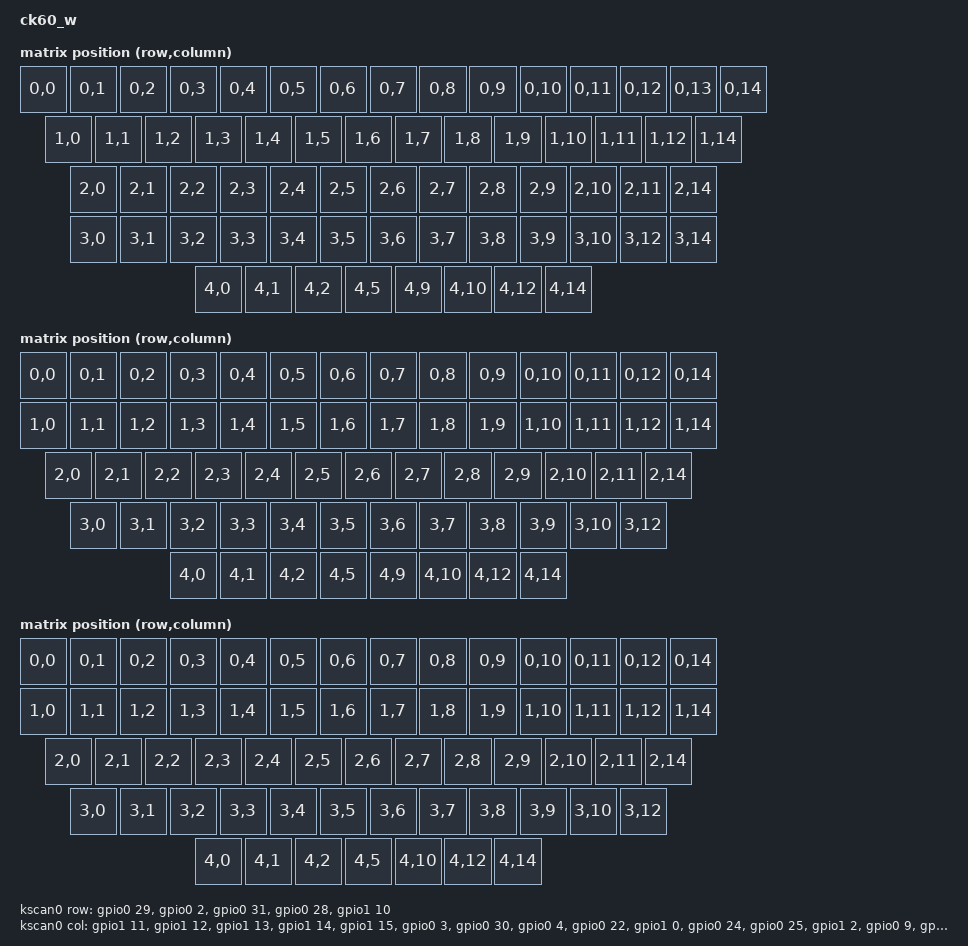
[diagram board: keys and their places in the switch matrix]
/*
 * Copyright (c) 2025 Andrew Kannan
 *
 * SPDX-License-Identifier: MIT
 */

/dts-v1/;
#include <nordic/nrf52840_qiaa.dtsi>

#include <dt-bindings/led/led.h>
#include <dt-bindings/zmk/matrix_transform.h>

#include "ck60_w-pinctrl.dtsi"
#include "ck60_w-layouts.dtsi"

/ {
    model = "ck60_w";
    compatible = "cannonkeys,ck60_w";

    chosen {
        zephyr,code-partition = &code_partition;
        zephyr,sram = &sram0;
        zephyr,flash = &flash0;
        zmk,battery = &vbatt;
        zmk,kscan = &kscan0;
        zmk,underglow = &led_strip;
        zmk,physical-layout = &sixty_percent_ansi_split_bs_rshift;
    };

    sixty_percent_ansi_split_bs_rshift_transform: sixty_percent_ansi_split_bs_rshift_transform {
        compatible = "zmk,matrix-transform";
        columns = <15>;
        rows = <5>;
        map = <
RC(0,0) RC(0,1) RC(0,2) RC(0,3) RC(0,4) RC(0,5) RC(0,6) RC(0,7) RC(0,8) RC(0,9) RC(0,10) RC(0,11) RC(0,12) RC(0,13) RC(0,14)
RC(1,0)   RC(1,1) RC(1,2) RC(1,3) RC(1,4) RC(1,5) RC(1,6) RC(1,7) RC(1,8) RC(1,9) RC(1,10) RC(1,11) RC(1,12)        RC(1,14)
RC(2,0)     RC(2,1) RC(2,2) RC(2,3) RC(2,4) RC(2,5) RC(2,6) RC(2,7) RC(2,8) RC(2,9) RC(2,10) RC(2,11)               RC(2,14)
RC(3,0)       RC(3,1) RC(3,2) RC(3,3) RC(3,4) RC(3,5) RC(3,6) RC(3,7) RC(3,8) RC(3,9)    RC(3,10)   RC(3,12)        RC(3,14)
RC(4,0)   RC(4,1)   RC(4,2)                      RC(4,5)                       RC(4,9)   RC(4,10)   RC(4,12)        RC(4,14)
        >;
    };

    sixty_percent_ansi_transform: sixty_percent_ansi_transform {
        compatible = "zmk,matrix-transform";
        columns = <15>;
        rows = <5>;
        map = <
RC(0,0) RC(0,1) RC(0,2) RC(0,3) RC(0,4) RC(0,5) RC(0,6) RC(0,7) RC(0,8) RC(0,9) RC(0,10) RC(0,11) RC(0,12)          RC(0,14)
RC(1,0)   RC(1,1) RC(1,2) RC(1,3) RC(1,4) RC(1,5) RC(1,6) RC(1,7) RC(1,8) RC(1,9) RC(1,10) RC(1,11) RC(1,12)        RC(1,14)
RC(2,0)     RC(2,1) RC(2,2) RC(2,3) RC(2,4) RC(2,5) RC(2,6) RC(2,7) RC(2,8) RC(2,9) RC(2,10) RC(2,11)               RC(2,14)
RC(3,0)       RC(3,1) RC(3,2) RC(3,3) RC(3,4) RC(3,5) RC(3,6) RC(3,7) RC(3,8) RC(3,9)    RC(3,10)                   RC(3,12)
RC(4,0)   RC(4,1)   RC(4,2)                      RC(4,5)                       RC(4,9)   RC(4,10)   RC(4,12)        RC(4,14)
        >;
    };

    sixty_percent_ansi_7u_transform: sixty_percent_ansi_7u_transform {
        compatible = "zmk,matrix-transform";
        columns = <15>;
        rows = <5>;
        map = <
RC(0,0) RC(0,1) RC(0,2) RC(0,3) RC(0,4) RC(0,5) RC(0,6) RC(0,7) RC(0,8) RC(0,9) RC(0,10) RC(0,11) RC(0,12)          RC(0,14)
RC(1,0)   RC(1,1) RC(1,2) RC(1,3) RC(1,4) RC(1,5) RC(1,6) RC(1,7) RC(1,8) RC(1,9) RC(1,10) RC(1,11) RC(1,12)        RC(1,14)
RC(2,0)     RC(2,1) RC(2,2) RC(2,3) RC(2,4) RC(2,5) RC(2,6) RC(2,7) RC(2,8) RC(2,9) RC(2,10) RC(2,11)               RC(2,14)
RC(3,0)       RC(3,1) RC(3,2) RC(3,3) RC(3,4) RC(3,5) RC(3,6) RC(3,7) RC(3,8) RC(3,9)    RC(3,10)                   RC(3,12)
RC(4,0)   RC(4,1)   RC(4,2)                      RC(4,5)                                 RC(4,10)   RC(4,12)        RC(4,14)
        >;
    };

    sixty_percent_ansi_7u_split_bs_rshift_transform: sixty_percent_ansi_7u_split_bs_rshift_transform {
        compatible = "zmk,matrix-transform";
        columns = <15>;
        rows = <5>;
        map = <
RC(0,0) RC(0,1) RC(0,2) RC(0,3) RC(0,4) RC(0,5) RC(0,6) RC(0,7) RC(0,8) RC(0,9) RC(0,10) RC(0,11) RC(0,12) RC(0,13) RC(0,14)
RC(1,0)   RC(1,1) RC(1,2) RC(1,3) RC(1,4) RC(1,5) RC(1,6) RC(1,7) RC(1,8) RC(1,9) RC(1,10) RC(1,11) RC(1,12)        RC(1,14)
RC(2,0)     RC(2,1) RC(2,2) RC(2,3) RC(2,4) RC(2,5) RC(2,6) RC(2,7) RC(2,8) RC(2,9) RC(2,10) RC(2,11)               RC(2,14)
RC(3,0)       RC(3,1) RC(3,2) RC(3,3) RC(3,4) RC(3,5) RC(3,6) RC(3,7) RC(3,8) RC(3,9)    RC(3,10)   RC(3,12)        RC(3,14)
RC(4,0)   RC(4,1)   RC(4,2)                      RC(4,5)                                 RC(4,10)   RC(4,12)        RC(4,14)
        >;
    };


    kscan0: kscan {
        compatible = "zmk,kscan-gpio-matrix";
        wakeup-source;
        label = "KSCAN";

        diode-direction = "col2row";
        row-gpios
            = <&gpio0 29 (GPIO_ACTIVE_HIGH | GPIO_PULL_DOWN)>
            , <&gpio0 2  (GPIO_ACTIVE_HIGH | GPIO_PULL_DOWN)>
            , <&gpio0 31 (GPIO_ACTIVE_HIGH | GPIO_PULL_DOWN)>
            , <&gpio0 28 (GPIO_ACTIVE_HIGH | GPIO_PULL_DOWN)>
            , <&gpio1 10 (GPIO_ACTIVE_HIGH | GPIO_PULL_DOWN)>
            ;
        col-gpios
            = <&gpio1 11 GPIO_ACTIVE_HIGH>
            , <&gpio1 12 GPIO_ACTIVE_HIGH>
            , <&gpio1 13 GPIO_ACTIVE_HIGH>
            , <&gpio1 14 GPIO_ACTIVE_HIGH>
            , <&gpio1 15 GPIO_ACTIVE_HIGH>
            , <&gpio0 3  GPIO_ACTIVE_HIGH>
            , <&gpio0 30 GPIO_ACTIVE_HIGH>
            , <&gpio0 4  GPIO_ACTIVE_HIGH>
            , <&gpio0 22 GPIO_ACTIVE_HIGH>
            , <&gpio1 0  GPIO_ACTIVE_HIGH>
            , <&gpio0 24 GPIO_ACTIVE_HIGH>
            , <&gpio0 25 GPIO_ACTIVE_HIGH>
            , <&gpio1 2  GPIO_ACTIVE_HIGH>
            , <&gpio0 9  GPIO_ACTIVE_HIGH>
            , <&gpio0 10 GPIO_ACTIVE_HIGH>
            ;
    };

    leds {
        compatible = "gpio-leds";
        blue_led: led_0 {
            gpios = <&gpio0 26 GPIO_ACTIVE_HIGH>;
            label = "Blue LED";
        };
    };

    ext-power {
        compatible = "zmk,ext-power-generic";
        label = "EXT_POWER";
        control-gpios = <&gpio1 9 GPIO_ACTIVE_HIGH>;
    };

    vbatt: vbatt {
        compatible = "zmk,battery-nrf-vddh";
        label = "BATTERY";
    };

    keys {
        compatible = "gpio-keys";
        soft_off_gpio_key: soft_off_gpio_key {
            gpios = <&gpio0 20 (GPIO_ACTIVE_HIGH | GPIO_PULL_DOWN)>;
        };
    };

    wakeup_scan: wakeup_scan {
        compatible = "zmk,gpio-key-wakeup-trigger";
        trigger = <&soft_off_gpio_key>;
        wakeup-source;
        extra-gpios = <&gpio0 10 GPIO_ACTIVE_HIGH>;
    };

    soft_off_wakers {
        compatible = "zmk,soft-off-wakeup-sources";
        wakeup-sources = <&wakeup_scan>;
    };


};

&adc {
    status = "okay";
};

&gpiote {
    status = "okay";
};

&gpio0 {
    status = "okay";
};

&gpio1 {
    status = "okay";
};

&spi3 {
    compatible = "nordic,nrf-spim";

    pinctrl-0 = <&spi3_default>;
    pinctrl-1 = <&spi3_sleep>;
    pinctrl-names = "default", "sleep";
    status = "okay";

    led_strip: ws2812@0 {
        compatible = "worldsemi,ws2812-spi";
        label = "WS2812";

        /* SPI */
        reg = <0>; /* ignored, but necessary for SPI bindings */
        spi-max-frequency = <4000000>;

        /* WS2812 */
        chain-length = <12>; /* LED strip length */
        spi-one-frame = <0x70>;
        spi-zero-frame = <0x40>;
        color-mapping = <LED_COLOR_ID_GREEN LED_COLOR_ID_RED LED_COLOR_ID_BLUE>;
    };
};

zephyr_udc0: &usbd {
    status = "okay";
};

&flash0 {
    /*
     * For more information, see:
     * http://docs.zephyrproject.org/latest/devices/dts/flash_partitions.html
     */
    partitions {
        compatible = "fixed-partitions";
        #address-cells = <1>;
        #size-cells = <1>;

        sd_partition: partition@0 {
            label = "mbr";
            reg = <0x00000000 0x00001000>;
        };

        code_partition: partition@1000 {
            label = "code_partition";
            reg = <0x00001000 0x000d3000>;
        };

        /*
         * The flash starting at 0x000d4000 and ending at
         * 0x000f3fff is reserved for use by the application.
         */

        /*
         * Storage partition will be used by FCB/LittleFS/NVS
         * if enabled.
         */
        storage_partition: partition@d4000 {
            label = "storage";
            reg = <0x000d4000 0x00020000>;
        };

        boot_partition: partition@f4000 {
            label = "adafruit_boot";
            reg = <0x000f4000 0x0000c000>;
        };
    };
};
